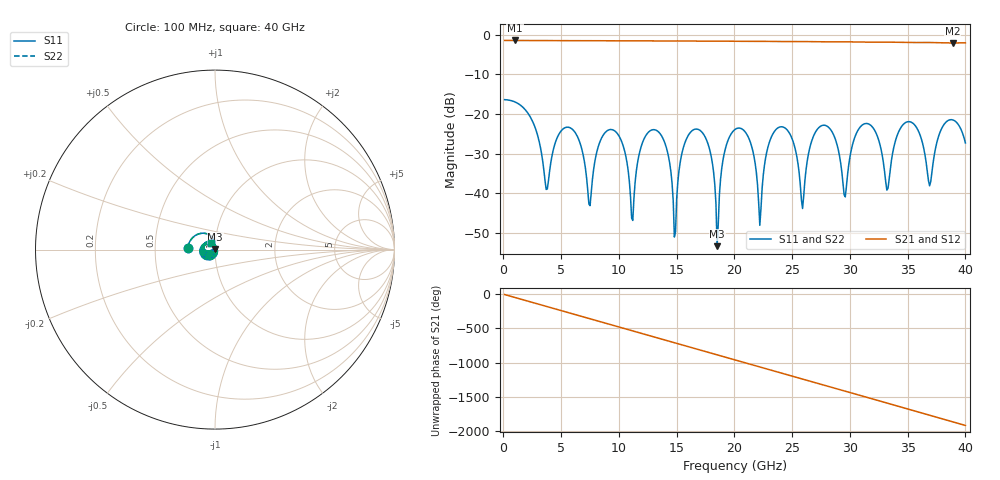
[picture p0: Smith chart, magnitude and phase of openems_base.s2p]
! T_ts6_sl_20: Stripline In2, ThunderScope stack, w 0.183 mm, 20 mm
! stackup: ThunderScope Rev5.3 6-layer (FR408HR / FR-4, from the board file)
! ports: 1 near A, 2 far A
! openEMS 0.37.0, staircase, base mesh (dfine 0.035 mm), 615328 cells
# Hz S RI R 50
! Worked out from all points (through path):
!   400 points, 100 MHz to 40 GHz, reference 50 ohm
!   highest |S21| = -1.43 dB at 1 GHz (marker M1); lowest = -2.1 dB at 38.9 GHz (marker M2)
!   group delay of S21, straight-line fit = 133 ps
!   lowest |S11| = -53.4 dB at 18.5 GHz (marker M3), VSWR 1.00, Z = 50.1 + j0.166 ohm
!   |S11| at or under -10 dB: start of sweep to end of sweep
!   |S22| runs from -53.4 to -16.4 dB; largest |S21 - S12| = 0
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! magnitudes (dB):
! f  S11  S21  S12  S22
! 100 MHz  -16.4  -1.4  -1.4  -16.4
! 1 GHz  -17.0  -1.4  -1.4  -17.0
! 3.7 GHz  -39.1  -1.5  -1.5  -39.1
! 6.8 GHz  -29.1  -1.5  -1.5  -29.1
! 7.5 GHz  -43.2  -1.5  -1.5  -43.2
! 9.9 GHz  -25.1  -1.5  -1.5  -25.1
! 11.2 GHz  -46.9  -1.5  -1.5  -46.9
! 13.4 GHz  -24.5  -1.6  -1.6  -24.5
! 14.8 GHz  -51.1  -1.5  -1.5  -51.1
! 15.6 GHz  -28.3  -1.6  -1.6  -28.3
! 17.5 GHz  -26.0  -1.6  -1.6  -26.0
! 18.5 GHz  -53.4  -1.6  -1.6  -53.4
! 19 GHz  -31.8  -1.6  -1.6  -31.8
! 20.1 GHz  -23.8  -1.6  -1.6  -23.8
! 21.6 GHz  -29.4  -1.6  -1.6  -29.4
! 22.2 GHz  -48.1  -1.6  -1.6  -48.1
! 23.4 GHz  -24.7  -1.7  -1.7  -24.7
! 25.9 GHz  -43.9  -1.7  -1.7  -43.9
! 26.7 GHz  -26.8  -1.7  -1.7  -26.8
! 33.4 GHz  -36.3  -1.9  -1.9  -36.3
! 38.9 GHz  -21.5  -2.1  -2.1  -21.5
! 40 GHz  -27.3  -2.0  -2.0  -27.3
